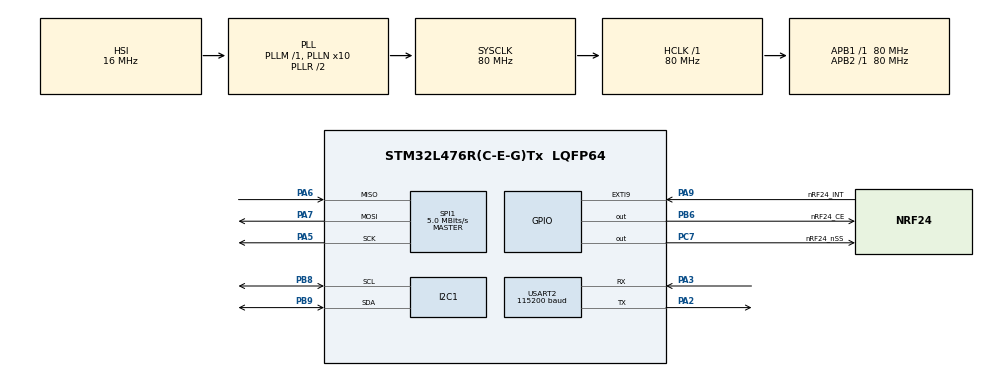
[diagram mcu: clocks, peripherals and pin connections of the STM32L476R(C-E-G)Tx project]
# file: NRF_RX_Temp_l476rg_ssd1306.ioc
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Mcu.Family=STM32L4
PA6.Mode=Full_Duplex_Master
RCC.CortexFreq_Value=80000000
SPI1.VirtualType=VM_MASTER
USART2.Parity=PARITY_NONE
PB6.GPIO_Label=nRF24_CE
SPI1.TIMode=SPI_TIMODE_DISABLE
RCC.SYSCLKSource=RCC_SYSCLKSOURCE_PLLCLK
ProjectManager.StackSize=0x600
PA14\ (JTCK-SWCLK).Signal=SYS_JTCK-SWCLK
SPI1.CLKPolarity=SPI_POLARITY_LOW
SPI1.Direction=SPI_DIRECTION_2LINES
RCC.HCLKFreq_Value=80000000
RCC.APB2TimFreq_Value=80000000
PB6.Signal=GPIO_Output
PC7.Signal=GPIO_Output
SPI1.CalculateBaudRate=5.0 MBits/s
RCC.AHBFreq_Value=80000000
RCC.HSE_VALUE=8000000
USART2.VirtualMode-Asynchronous=VM_ASYNC
USART2.OverSampling=UART_OVERSAMPLING_16
SPI1.DataSize=SPI_DATASIZE_8BIT
PC7.PinState=GPIO_PIN_SET
SPI1.FirstBit=SPI_FIRSTBIT_MSB
SPI1.NSS=SPI_NSS_SOFT
Mcu.Package=LQFP64
PB9.Signal=I2C1_SDA
PA6.Signal=SPI1_MISO
PB6.GPIO_ModeDefaultOutputPP=GPIO_MODE_OUTPUT_PP
USART2.WordLength=WORDLENGTH_8B
RCC.APB1TimFreq_Value=80000000
PA13\ (JTMS-SWDIO).Signal=SYS_JTMS-SWDIO
SPI1.BaudRatePrescaler=SPI_BAUDRATEPRESCALER_16
PA3.Signal=USART2_RX
PA5.Mode=Full_Duplex_Master
RCC.MSI_VALUE=4000000
RCC.PLLSourceVirtual=RCC_PLLSOURCE_HSI
PC7.GPIO_ModeDefaultOutputPP=GPIO_MODE_OUTPUT_PP
PA14\ (JTCK-SWCLK).Mode=Serial_Wire
PA7.Mode=Full_Duplex_Master
PA9.GPIO_Label=nRF24_INT
PB6.GPIO_PuPd=GPIO_NOPULL
RCC.RCC_TIM_PRescaler_Selection=RCC_TIMPRES_DESACTIVATED
SPI1.CLKPhase=SPI_PHASE_1EDGE
USART2.BaudRate=115200
PA3.Mode=Asynchronous
ProjectManager.TargetToolchain=STM32CubeIDE
PB9.Mode=I2C
PA9.Signal=GPXTI9
RCC.USBFreq_Value=64000000
PC7.GPIO_PuPd=GPIO_NOPULL
RCC.LSE_VALUE=32768
PA5.Signal=SPI1_SCK
board=STM32F746G-DISCO
PC7.GPIO_Speed=GPIO_SPEED_FREQ_VERY_HIGH
RCC.VCOOutputFreq_Value=160000000
RCC.APB2Freq_Value=80000000
SPI1.CRCCalculation=SPI_CRCCALCULATION_DISABLE
USART2.StopBits=STOPBITS_1
SPI1.Mode=SPI_MODE_MASTER
RCC.ADCFreq_Value=64000000
Mcu.Name=STM32L476R(C-E-G)Tx
PA2.Signal=USART2_TX
PC7.GPIO_Label=nRF24_nSS
PA13\ (JTMS-SWDIO).Mode=Serial_Wire
RCC.SYSCLKFreq_VALUE=80000000
PB6.PinState=GPIO_PIN_SET
NVIC.EXTI9_5_IRQn=true\:0\:0\:false\:false\:true\:true\:true
ProjectManager.HeapSize=0x400
RCC.HSI_VALUE=16000000
NVIC.PriorityGroup=NVIC_PRIORITYGROUP_2
RCC.PLLN=10
PB8.Mode=I2C
PA9.GPIO_ModeDefaultEXTI=GPIO_MODE_IT_FALLING
PA2.Mode=Asynchronous
PB8.Signal=I2C1_SCL
PB6.GPIO_Speed=GPIO_SPEED_FREQ_VERY_HIGH
RCC.APB1Freq_Value=80000000
USART2.Mode=MODE_TX_RX
PA7.Signal=SPI1_MOSI

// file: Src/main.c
/* USER CODE BEGIN Header */
/**
  ******************************************************************************
  * @file           : main.c
  * @brief          : Main program body
  ******************************************************************************
  * @attention
  *
  * <h2><center>&copy; Copyright (c) 2021 STMicroelectronics.
  * All rights reserved.</center></h2>
  *
  * This software component is licensed by ST under BSD 3-Clause license,
  * the "License"; You may not use this file except in compliance with the
  * License. You may obtain a copy of the License at:
  *                        opensource.org/licenses/BSD-3-Clause
  *
  ******************************************************************************
  */
/* USER CODE END Header */
#include "main.h"
#include "i2c.h"
#include "spi.h"
#include "usart.h"
#include "gpio.h"

/* USER CODE BEGIN Includes */
#include <stdio.h>
#include "nRF24L01P.h"
#include "ssd1306.h"
#include "fonts.h"
/* USER CODE END Includes */

/* USER CODE BEGIN PV */
nRF24L01P myNRF;
const uint8_t RXAddr[5] = {0xE7, 0xE7, 0xE7, 0xE7, 0xE7};
const uint8_t TXAddr[5] = {0xE7, 0xE7, 0xE7, 0xE7, 0xE7};
//char TXData[5];
char strrec[32];
uint8_t RXBuffer[32], TXBuffer[32], uartSent;
/* USER CODE END PV */

void SystemClock_Config(void);
/* USER CODE BEGIN PFP */
#ifdef __GNUC__
/* With GCC/RAISONANCE, small printf (option LD Linker->Libraries->Small printf
set to 'Yes') calls __io_putchar() */
#define PUTCHAR_PROTOTYPE int __io_putchar(int ch)
#else
#define PUTCHAR_PROTOTYPE int fputc(int ch, FILE *f)
#endif /* __GNUC__ */
/* USER CODE END PFP */

int main(void)
{

  /* MCU Configuration--------------------------------------------------------*/

  /* Reset of all peripherals, Initializes the Flash interface and the Systick. */
  HAL_Init();

  /* Configure the system clock */
  SystemClock_Config();

  /* Initialize all configured peripherals */
  MX_GPIO_Init();
  MX_SPI1_Init();
  MX_USART2_UART_Init();
  MX_I2C1_Init();
  /* USER CODE BEGIN 2 */
    myNRF.hspi = &hspi1;														// You should make this definition at CubeMX
  	myNRF.CRC_Width = nRF_CRC_WIDTH_HALFWORD;
  	myNRF.ADDR_Width = nRF_ADDR_WIDTH_5;
  	myNRF.Data_Rate = nRF_DATA_RATE_2MBPS;
  	myNRF.TX_Power = nRF_TX_PWR_0dBm;
  	myNRF.State = nRF_STATE_RX;

  	myNRF.RF_Channel = 120;
  	myNRF.PayloadWidth = nRF_RXPW_8BYTES;
  	myNRF.RetransmitCount = nRF_RETX_DISABLED;;
  	myNRF.RetransmitDelay = nRF_RETX_DELAY_1000uS;

  	myNRF.RX_Address = (uint8_t *)RXAddr;
  	myNRF.TX_Address = (uint8_t *)TXAddr;

  	myNRF.RX_Buffer = RXBuffer;
  	myNRF.TX_Buffer = TXBuffer;

  	myNRF.nRF_nSS_GPIO_PORT = nRF24_nSS_GPIO_Port;	// You should make this definition at CubeMX
  	myNRF.nRF_nSS_GPIO_PIN = nRF24_nSS_Pin;					// You should make this definition at CubeMX

  	myNRF.nRF_CE_GPIO_PORT = nRF24_CE_GPIO_Port;		// You should make this definition at CubeMX
  	myNRF.nRF_CE_GPIO_PIN = nRF24_CE_Pin;						// You should make this definition at CubeMX

  	if(HAL_nRF24L01P_Init((nRF24L01P *)&myNRF) != HAL_OK)
  	{
  		printf("nRF24 Init fucked UP!\r\n");
  		Error_Handler();
  	} else {
  		printf("nRF24 Init is OK!\r\n");
  	}

  	uartSent = 1;

  	printf("Application has started!\r\n");

  	SSD1306_Init();
  	SSD1306_Fill(0);
  	SSD1306_GotoXY(0,0);
  	SSD1306_Puts("NRF24 Temp.", &Font_11x18, SSD1306_COLOR_WHITE);
  	SSD1306_UpdateScreen();
  	SSD1306_GotoXY(0,22);
  	SSD1306_Puts("Receiver", &Font_11x18, SSD1306_COLOR_WHITE);
  	SSD1306_UpdateScreen();
  /* USER CODE END 2 */

  /* Infinite loop */
  while (1)
  {

    /* USER CODE BEGIN 3 */
	  if((myNRF.RX_Buffer[0] != 0x00) && !myNRF.Busy && uartSent)
	  		{
		        sprintf(strrec,"%s",myNRF.RX_Buffer);
		        for (int i=5;i<8;i++)
		        	 strrec[i]='\0';
	  			SSD1306_GotoXY(0,45);
	  			SSD1306_Puts("Temp:", &Font_11x18, SSD1306_COLOR_WHITE);
	  			SSD1306_UpdateScreen();
	  			SSD1306_GotoXY(62,45);
	  			SSD1306_Puts(strrec, &Font_11x18, SSD1306_COLOR_WHITE);
	  		    SSD1306_UpdateScreen();
	  			printf("%s\r\n",strrec);
	  			uartSent = 0;
	  		}
  }
  /* USER CODE END 3 */
}

void SystemClock_Config(void)
{
  RCC_OscInitTypeDef RCC_OscInitStruct = {0};
  RCC_ClkInitTypeDef RCC_ClkInitStruct = {0};
  RCC_PeriphCLKInitTypeDef PeriphClkInit = {0};

  /** Initializes the RCC Oscillators according to the specified parameters
  * in the RCC_OscInitTypeDef structure.
  */
  RCC_OscInitStruct.OscillatorType = RCC_OSCILLATORTYPE_HSI;
  RCC_OscInitStruct.HSIState = RCC_HSI_ON;
  RCC_OscInitStruct.HSICalibrationValue = RCC_HSICALIBRATION_DEFAULT;
  RCC_OscInitStruct.PLL.PLLState = RCC_PLL_ON;
  RCC_OscInitStruct.PLL.PLLSource = RCC_PLLSOURCE_HSI;
  RCC_OscInitStruct.PLL.PLLM = 1;
  RCC_OscInitStruct.PLL.PLLN = 10;
  RCC_OscInitStruct.PLL.PLLP = RCC_PLLP_DIV7;
  RCC_OscInitStruct.PLL.PLLQ = RCC_PLLQ_DIV2;
  RCC_OscInitStruct.PLL.PLLR = RCC_PLLR_DIV2;
  if (HAL_RCC_OscConfig(&RCC_OscInitStruct) != HAL_OK)
  {
    Error_Handler();
  }
  /** Initializes the CPU, AHB and APB buses clocks
  */
  RCC_ClkInitStruct.ClockType = RCC_CLOCKTYPE_HCLK|RCC_CLOCKTYPE_SYSCLK
                              |RCC_CLOCKTYPE_PCLK1|RCC_CLOCKTYPE_PCLK2;
  RCC_ClkInitStruct.SYSCLKSource = RCC_SYSCLKSOURCE_PLLCLK;
  RCC_ClkInitStruct.AHBCLKDivider = RCC_SYSCLK_DIV1;
  RCC_ClkInitStruct.APB1CLKDivider = RCC_HCLK_DIV1;
  RCC_ClkInitStruct.APB2CLKDivider = RCC_HCLK_DIV1;

  if (HAL_RCC_ClockConfig(&RCC_ClkInitStruct, FLASH_LATENCY_4) != HAL_OK)
  {
    Error_Handler();
  }
  PeriphClkInit.PeriphClockSelection = RCC_PERIPHCLK_USART2|RCC_PERIPHCLK_I2C1;
  PeriphClkInit.Usart2ClockSelection = RCC_USART2CLKSOURCE_PCLK1;
  PeriphClkInit.I2c1ClockSelection = RCC_I2C1CLKSOURCE_PCLK1;
  if (HAL_RCCEx_PeriphCLKConfig(&PeriphClkInit) != HAL_OK)
  {
    Error_Handler();
  }
  /** Configure the main internal regulator output voltage
  */
  if (HAL_PWREx_ControlVoltageScaling(PWR_REGULATOR_VOLTAGE_SCALE1) != HAL_OK)
  {
    Error_Handler();
  }
}

/* USER CODE BEGIN 4 */
void HAL_GPIO_EXTI_Callback(uint16_t GPIO_Pin)
{
	if(GPIO_Pin == nRF24_INT_Pin)
	{
		//HAL_UART_Transmit(&huart1, (uint8_t *)"Interrupt is OK!\r\n", 19, 250);
		if(HAL_nRF24L01P_IRQ_Handler((nRF24L01P *)&myNRF) != HAL_OK)
		{
			Error_Handler();
		}
		/*HAL_nRF24L01P_ReadRegister(&myNRF, nRF_STATUS, &regStatus);
		HAL_UART_Transmit(&huart1, (uint8_t *)"Status >", 8, 250);
		HAL_UART_Transmit(&huart1, &regStatus, 1, 250);
		HAL_UART_Transmit(&huart1, (uint8_t *)"\r\n", 2, 250);*/
		uartSent = 1;
	}
}
PUTCHAR_PROTOTYPE
{
/* Place your implementation of fputc here */
/* e.g. write a character to the USART1 and Loop until the end of transmission */
HAL_UART_Transmit(&huart2, (uint8_t *)&ch, 1, 100);

return ch;
}
/* USER CODE END 4 */

void Error_Handler(void)
{
  /* USER CODE BEGIN Error_Handler_Debug */
  /* User can add his own implementation to report the HAL error return state */
  __disable_irq();
  while (1)
  {
	  while(1) {
	  	printf("There was something wrong!\n\r");
	  		HAL_Delay(1000);
	  	}
  }
  /* USER CODE END Error_Handler_Debug */
}

/************************ (C) COPYRIGHT STMicroelectronics *****END OF FILE****/
